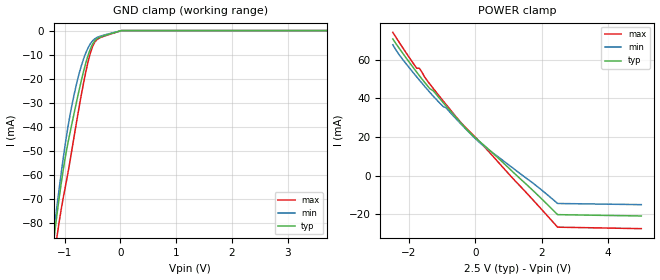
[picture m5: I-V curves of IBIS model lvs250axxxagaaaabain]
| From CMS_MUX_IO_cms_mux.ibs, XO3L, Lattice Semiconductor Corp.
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[Model]   lvs250axxxagaaaabain
Model_type   Input
Polarity   Non-Inverting
Enable   Active-Low
Vinl =   1.1500V
Vinh =   1.3500V
C_comp   4.2000pF   3.8000pF   7.5000pF
[Temperature Range]   25.0000   0.1250k   -40.0000
[Voltage Range]   2.5000V   2.3800V   2.6300V
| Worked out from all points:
|   GND clamp passes 1 mA (typ) near -0.13 V on its own axis
[GND_clamp]
|Voltage   I(typ)   I(min)   I(max)
-2.5V     -559mA     -539.3mA   -577.6mA
-1.22V    -91.87mA   -88.8mA    -100.4mA
-1.18V    -84.23mA   -80.98mA   -92.97mA
-1.14V    -76.86mA   -73.36mA   -86.09mA
-1.02V    -57.03mA   -52.06mA   -68.84mA
-940mV    -46.52mA   -39.84mA   -58.98mA
-780mV    -28.85mA   -21.43mA   -37.05mA
-580mV    -10.26mA   -7.144mA   -12.89mA
-500mV    -5.622mA   -4.259mA   -6.605mA
-420mV    -3.366mA   -2.868mA   -3.715mA
20mV      0A         0A         0A
5V        0A         0A         0A
[POWER_clamp]
|Voltage   I(typ)   I(min)   I(max)
-2.48V    70.8mA     67.79mA    74.22mA
-2.24V    64.81mA    61.5mA     67.79mA
-1.76V    53.56mA    51.12mA    55.62mA
-1.68V    51.75mA    49.46mA    55.62mA
-1.36V    44.95mA    43.02mA    47.29mA
-1.2V     42.73mA    39.97mA    43.79mA
-960mV    37.69mA    35.72mA    38.61mA
-880mV    36.09mA    35.18mA    36.9mA
-480mV    28.21mA    27.66mA    28.47mA
0V        19.67mA    19.21mA    19.91mA
2.48V     -20.27mA   -14.48mA   -26.76mA
5V        -20.96mA   -15.08mA   -27.53mA
